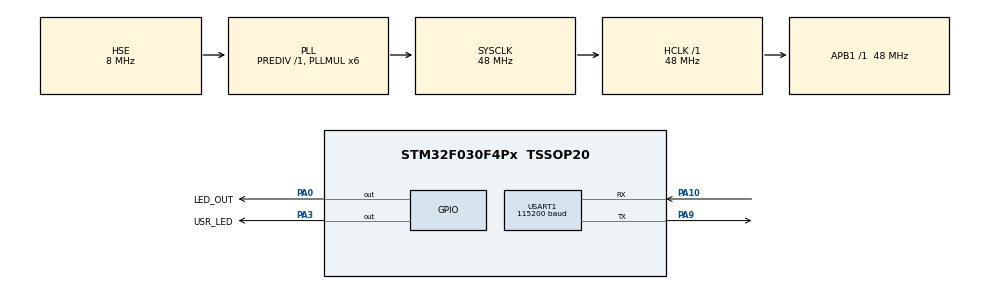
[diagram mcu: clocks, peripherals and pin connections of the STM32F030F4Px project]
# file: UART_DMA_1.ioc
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Dma.Request0=USART1_RX
Dma.USART1_RX.0.Direction=DMA_PERIPH_TO_MEMORY
Dma.USART1_RX.0.Instance=DMA1_Channel3
Dma.USART1_RX.0.MemDataAlignment=DMA_MDATAALIGN_BYTE
Dma.USART1_RX.0.MemInc=DMA_MINC_ENABLE
Dma.USART1_RX.0.Mode=DMA_NORMAL
Dma.USART1_RX.0.PeriphDataAlignment=DMA_PDATAALIGN_BYTE
Dma.USART1_RX.0.PeriphInc=DMA_PINC_DISABLE
Dma.USART1_RX.0.Priority=DMA_PRIORITY_LOW
Mcu.Family=STM32F0
Mcu.Name=STM32F030F4Px
Mcu.Package=TSSOP20
NVIC.DMA1_Channel2_3_IRQn=true\:0\:0\:false\:false\:true\:false\:true
NVIC.USART1_IRQn=true\:0\:0\:false\:false\:true\:true\:true
PA0.GPIO_Label=LED_OUT
PA0.Signal=GPIO_Output
PA10.Mode=Asynchronous
PA10.Signal=USART1_RX
PA13.Mode=Serial_Wire
PA13.Signal=SYS_SWDIO
PA14.Mode=Serial_Wire
PA14.Signal=SYS_SWCLK
PA3.GPIO_Label=USR_LED
PA3.Signal=GPIO_Output
PA9.Mode=Asynchronous
PA9.Signal=USART1_TX
PF0-OSC_IN.Mode=HSE-External-Oscillator
PF0-OSC_IN.Signal=RCC_OSC_IN
PF1-OSC_OUT.Mode=HSE-External-Oscillator
PF1-OSC_OUT.Signal=RCC_OSC_OUT
ProjectManager.HeapSize=0x200
ProjectManager.StackSize=0x400
ProjectManager.TargetToolchain=STM32CubeIDE
RCC.AHBFreq_Value=48000000
RCC.APB1Freq_Value=48000000
RCC.APB1TimFreq_Value=48000000
RCC.HCLKFreq_Value=48000000
RCC.PLLMUL=RCC_PLL_MUL6
RCC.PLLSourceVirtual=RCC_PLLSOURCE_HSE
RCC.SYSCLKFreq_VALUE=48000000
RCC.SYSCLKSource=RCC_SYSCLKSOURCE_PLLCLK
USART1.BaudRate=115200
USART1.VirtualMode-Asynchronous=VM_ASYNC
board=custom

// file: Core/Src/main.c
/* USER CODE BEGIN Header */
/**
 ******************************************************************************
 * @file           : main.c
 * @brief          : Main program body
 ******************************************************************************
 * @attention
 *
 * <h2><center>&copy; Copyright (c) 2022 STMicroelectronics.
 * All rights reserved.</center></h2>
 *
 * This software component is licensed by ST under BSD 3-Clause license,
 * the "License"; You may not use this file except in compliance with the
 * License. You may obtain a copy of the License at:
 *                        opensource.org/licenses/BSD-3-Clause
 *
 ******************************************************************************
 */
/* USER CODE END Header */

#include "main.h"
#include "dma.h"
#include "usart.h"
#include "gpio.h"

/* USER CODE BEGIN Includes */
#include <string.h>
/* USER CODE END Includes */

/* USER CODE BEGIN PM */
#define HIGH 1
#define LOW  0
/* USER CODE END PM */

/* USER CODE BEGIN PV */
//char rxData[30];
char rxData[2];
char rxBuffer[12];  //rx buffer length
char tempBuf[5];
char rxIndex, tempIndex;
uint8_t rxComplete;
/* USER CODE END PV */

void SystemClock_Config(void);
/* USER CODE BEGIN PFP */
int processUART(char data);
/* USER CODE END PFP */

int main(void)
{

  /* MCU Configuration--------------------------------------------------------*/

  /* Reset of all peripherals, Initializes the Flash interface and the Systick. */
  HAL_Init();

  /* Configure the system clock */
  SystemClock_Config();

  /* Initialize all configured peripherals */
  MX_GPIO_Init();
  MX_DMA_Init();
  MX_USART1_UART_Init();
  /* USER CODE BEGIN 2 */
	char txData[30] = "UART DMA Test\n\r";
	HAL_UART_Receive_DMA(&huart1, (uint8_t*)rxData, 1);
	HAL_UART_Transmit(&huart1, (uint8_t*)txData, strlen(txData), 10);
  /* USER CODE END 2 */

  /* Infinite loop */
	while (1)
	{

	}
}

void SystemClock_Config(void)
{
  RCC_OscInitTypeDef RCC_OscInitStruct = {0};
  RCC_ClkInitTypeDef RCC_ClkInitStruct = {0};
  RCC_PeriphCLKInitTypeDef PeriphClkInit = {0};

  /** Initializes the CPU, AHB and APB busses clocks
  */
  RCC_OscInitStruct.OscillatorType = RCC_OSCILLATORTYPE_HSE;
  RCC_OscInitStruct.HSEState = RCC_HSE_ON;
  RCC_OscInitStruct.PLL.PLLState = RCC_PLL_ON;
  RCC_OscInitStruct.PLL.PLLSource = RCC_PLLSOURCE_HSE;
  RCC_OscInitStruct.PLL.PLLMUL = RCC_PLL_MUL6;
  RCC_OscInitStruct.PLL.PREDIV = RCC_PREDIV_DIV1;
  if (HAL_RCC_OscConfig(&RCC_OscInitStruct) != HAL_OK)
  {
    Error_Handler();
  }
  /** Initializes the CPU, AHB and APB busses clocks
  */
  RCC_ClkInitStruct.ClockType = RCC_CLOCKTYPE_HCLK|RCC_CLOCKTYPE_SYSCLK
                              |RCC_CLOCKTYPE_PCLK1;
  RCC_ClkInitStruct.SYSCLKSource = RCC_SYSCLKSOURCE_PLLCLK;
  RCC_ClkInitStruct.AHBCLKDivider = RCC_SYSCLK_DIV1;
  RCC_ClkInitStruct.APB1CLKDivider = RCC_HCLK_DIV1;

  if (HAL_RCC_ClockConfig(&RCC_ClkInitStruct, FLASH_LATENCY_1) != HAL_OK)
  {
    Error_Handler();
  }
  PeriphClkInit.PeriphClockSelection = RCC_PERIPHCLK_USART1;
  PeriphClkInit.Usart1ClockSelection = RCC_USART1CLKSOURCE_PCLK1;
  if (HAL_RCCEx_PeriphCLKConfig(&PeriphClkInit) != HAL_OK)
  {
    Error_Handler();
  }
}

/* USER CODE BEGIN 4 */
void HAL_UART_RxCpltCallback(UART_HandleTypeDef *huart)
{
	/* Prevent unused argument(s) compilation warning */
	UNUSED(huart);
	volatile char data = rxData[0];
	rxComplete = processUART(data);
	if(rxComplete == HIGH)
	{
		if(strcmp(tempBuf, "ADC:") == 0)
		{
			HAL_GPIO_TogglePin(GPIOA, USR_LED_Pin|LED_OUT_Pin);
		}
	}
	HAL_UART_Receive_DMA(&huart1, (uint8_t*)rxData, 1);
}

int processUART(char data)
{
	if((data != 0x0D) && (data != 0x0A))
	{
		rxBuffer[rxIndex] = data;
		if(rxIndex <= 3)
		{
			tempBuf[tempIndex] = data;
			tempIndex++;
		}
		rxIndex++;
		return 0;
	}
	else
	{
		rxBuffer[rxIndex] = '\0';
		tempBuf[tempIndex] = '\0';
		rxIndex = 0;
		tempIndex = 0;
		return 1;
	}
}
/* USER CODE END 4 */

void Error_Handler(void)
{
}

/************************ (C) COPYRIGHT STMicroelectronics *****END OF FILE****/
